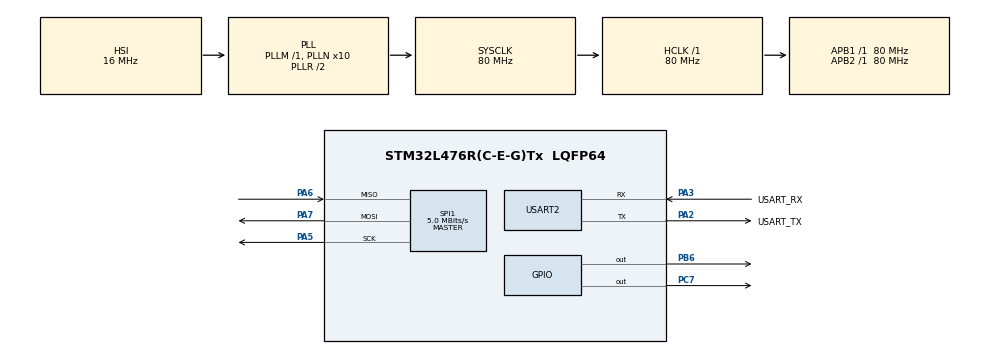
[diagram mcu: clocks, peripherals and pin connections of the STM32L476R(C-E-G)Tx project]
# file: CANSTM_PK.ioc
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Mcu.Family=STM32L4
Mcu.Name=STM32L476R(C-E-G)Tx
Mcu.Package=LQFP64
NVIC.PriorityGroup=NVIC_PRIORITYGROUP_4
PA13\ (JTMS-SWDIO).GPIO_Label=TMS
PA13\ (JTMS-SWDIO).Mode=Serial_Wire
PA13\ (JTMS-SWDIO).Signal=SYS_JTMS-SWDIO
PA14\ (JTCK-SWCLK).GPIO_Label=TCK
PA14\ (JTCK-SWCLK).Mode=Serial_Wire
PA14\ (JTCK-SWCLK).Signal=SYS_JTCK-SWCLK
PA2.GPIO_Label=USART_TX
PA2.GPIO_Mode=GPIO_MODE_AF_PP
PA2.GPIO_PuPd=GPIO_NOPULL
PA2.GPIO_Speed=GPIO_SPEED_FREQ_VERY_HIGH
PA2.Mode=Asynchronous
PA2.Signal=USART2_TX
PA3.GPIO_Label=USART_RX
PA3.GPIO_Mode=GPIO_MODE_AF_PP
PA3.GPIO_PuPd=GPIO_NOPULL
PA3.GPIO_Speed=GPIO_SPEED_FREQ_VERY_HIGH
PA3.Mode=Asynchronous
PA3.Signal=USART2_RX
PA5.Mode=Full_Duplex_Master
PA5.Signal=SPI1_SCK
PA6.Mode=Full_Duplex_Master
PA6.Signal=SPI1_MISO
PA7.Mode=Full_Duplex_Master
PA7.Signal=SPI1_MOSI
PB3\ (JTDO-TRACESWO).GPIO_Label=SWO
PB3\ (JTDO-TRACESWO).Signal=SYS_JTDO-SWO
PB6.GPIO_Speed=GPIO_SPEED_FREQ_VERY_HIGH
PB6.PinState=GPIO_PIN_SET
PB6.Signal=GPIO_Output
PC14-OSC32_IN\ (PC14).Mode=LSE-External-Oscillator
PC14-OSC32_IN\ (PC14).Signal=RCC_OSC32_IN
PC15-OSC32_OUT\ (PC15).Mode=LSE-External-Oscillator
PC15-OSC32_OUT\ (PC15).Signal=RCC_OSC32_OUT
PC7.GPIO_Speed=GPIO_SPEED_FREQ_VERY_HIGH
PC7.PinState=GPIO_PIN_SET
PC7.Signal=GPIO_Output
PH0-OSC_IN\ (PH0).Signal=RCC_OSC_IN
PH1-OSC_OUT\ (PH1).Signal=RCC_OSC_OUT
ProjectManager.HeapSize=0x200
ProjectManager.StackSize=0x400
ProjectManager.TargetToolchain=Makefile
RCC.ADCFreq_Value=64000000
RCC.AHBFreq_Value=80000000
RCC.APB1Freq_Value=80000000
RCC.APB1TimFreq_Value=80000000
RCC.APB2Freq_Value=80000000
RCC.APB2TimFreq_Value=80000000
RCC.CortexFreq_Value=80000000
RCC.HCLKFreq_Value=80000000
RCC.HSE_VALUE=8000000
RCC.HSI_VALUE=16000000
RCC.MSI_VALUE=4000000
RCC.PLLN=10
RCC.PLLSourceVirtual=RCC_PLLSOURCE_HSI
RCC.SYSCLKFreq_VALUE=80000000
RCC.SYSCLKSource=RCC_SYSCLKSOURCE_PLLCLK
RCC.USBFreq_Value=64000000
RCC.VCOOutputFreq_Value=160000000
SPI1.BaudRatePrescaler=SPI_BAUDRATEPRESCALER_16
SPI1.CalculateBaudRate=5.0 MBits/s
SPI1.DataSize=SPI_DATASIZE_8BIT
SPI1.Direction=SPI_DIRECTION_2LINES
SPI1.Mode=SPI_MODE_MASTER
SPI1.NSSPMode=SPI_NSS_PULSE_DISABLE
SPI1.VirtualType=VM_MASTER
USART2.VirtualMode-Asynchronous=VM_ASYNC
board=NUCLEO-L476RG

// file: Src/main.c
/* USER CODE BEGIN Header */
/**
 ******************************************************************************
 * @file           : main.c
 * @brief          : Main program body
 ******************************************************************************
 * @attention
 *
 * Copyright (c) 2023 STMicroelectronics.
 * All rights reserved.
 *
 * This software is licensed under terms that can be found in the LICENSE file
 * in the root directory of this software component.
 * If no LICENSE file comes with this software, it is provided AS-IS.
 *
 ******************************************************************************
 */
/* USER CODE END Header */
#include "main.h"

/* USER CODE BEGIN Includes */
#include <stdio.h>
#include <string.h>

#include "mcp2515.h"
/* USER CODE END Includes */

SPI_HandleTypeDef hspi1;

UART_HandleTypeDef huart2;

/* USER CODE BEGIN PV */

MCP2515_HandleTypeDef hmcp2515_1;
MCP2515_HandleTypeDef hmcp2515_2;

/* USER CODE END PV */

void SystemClock_Config(void);
static void MX_GPIO_Init(void);
static void MX_USART2_UART_Init(void);
static void MX_SPI1_Init(void);

int main(void) {

  /* MCU Configuration--------------------------------------------------------*/

  /* Reset of all peripherals, Initializes the Flash interface and the Systick.
   */
  HAL_Init();

  /* Configure the system clock */
  SystemClock_Config();

  /* Initialize all configured peripherals */
  MX_GPIO_Init();
  MX_USART2_UART_Init();
  MX_SPI1_Init();
  /* USER CODE BEGIN 2 */

  hmcp2515_1.hspi = &hspi1;
  hmcp2515_1.cs_base = GPIOB;
  hmcp2515_1.cs_pin = GPIO_PIN_6;

  // if (MCP2515_Init(&hmcp2515_1, 0, 0, 0, 0) != HAL_OK)
  //   Error_Handler();
  // if (MCP2515_DisableReceiveFilter(&hmcp2515_1, MCP2515_RXB0) != HAL_OK)
  //   Error_Handler();
  // if (MCP2515_DisableReceiveFilter(&hmcp2515_1, MCP2515_RXB1) != HAL_OK)
  //   Error_Handler();
  // if (MCP2515_SetTimeSegments(&hmcp2515_1, 4, 3, 2, 7, 6) != HAL_OK)
  //   Error_Handler();
  // if (MCP2515_SetOperationMode(&hmcp2515_1, MCP2515_NORMAL_MODE) != HAL_OK)
  //   Error_Handler();

  hmcp2515_2.hspi = &hspi1;
  hmcp2515_2.cs_base = GPIOC;
  hmcp2515_2.cs_pin = GPIO_PIN_7;

  if (MCP2515_Init(&hmcp2515_2, 0, 0, 0, 0) != HAL_OK)
    Error_Handler();
  if (MCP2515_SetTimeSegments(&hmcp2515_2, 4, 3, 2, 7, 6) != HAL_OK)
    Error_Handler();
  if (MCP2515_EnableOneShotMode(&hmcp2515_2) != HAL_OK)
    Error_Handler();
  if (MCP2515_SetOperationMode(&hmcp2515_2, MCP2515_NORMAL_MODE) != HAL_OK)
    Error_Handler();
  uint8_t data[4] = {0xB, 0xAD, 0xF0, 0x0D};
  if (MCP2515_SetTransmitBuffer(&hmcp2515_2, MCP2515_TXB0, MCP2515_CAN_STDFRAME,
                                0, data, 4) != HAL_OK)
    Error_Handler();
  if (MCP2515_RequestToSend(&hmcp2515_2, MCP2515_TXB0) != HAL_OK)
    Error_Handler();
  /* USER CODE END 2 */

  /* Infinite loop */
  /* USER CODE BEGIN WHILE */
  // MCP2515_CAN_FrameType frametyp;
  // uint32_t frameid;
  // uint8_t dada[8];
  // uint8_t dlc;
  // uint8_t status;
  while (1) {
    // if (MCP2515_SetTransmitBuffer(&hmcp2515_2, MCP2515_TXB0,
    //                               MCP2515_CAN_STDFRAME, 0, data, 4) !=
    //                               HAL_OK)
    //   Error_Handler();
    // if (MCP2515_GetTXB_Status(&hmcp2515_2, MCP2515_TXB0, &status) !=
    // HAL_OK)
    //   Error_Handler();
    // if (status & MCP2515_TXERR) {
    //   uint8_t err;
    //   MCP2515_GetErrorFlagRegister(&hmcp2515_2, &err);
    // }
    // if (!(status & MCP2515_TXREQ)) {
    //   if (MCP2515_RequestToSend(&hmcp2515_2, MCP2515_TXB0) != HAL_OK)
    //     Error_Handler();
    // }

    // if (MCP2515_GetReceiveBuffer(&hmcp2515_1, MCP2515_RXB0, &frametyp,
    // &frameid,
    //                              dada, &dlc) != HAL_OK)
    //   Error_Handler();
    /* USER CODE END WHILE */

  }
}

void SystemClock_Config(void) {
  RCC_OscInitTypeDef RCC_OscInitStruct = {0};
  RCC_ClkInitTypeDef RCC_ClkInitStruct = {0};

  /** Configure the main internal regulator output voltage
   */
  if (HAL_PWREx_ControlVoltageScaling(PWR_REGULATOR_VOLTAGE_SCALE1) != HAL_OK) {
    Error_Handler();
  }

  /** Initializes the RCC Oscillators according to the specified parameters
   * in the RCC_OscInitTypeDef structure.
   */
  RCC_OscInitStruct.OscillatorType = RCC_OSCILLATORTYPE_HSI;
  RCC_OscInitStruct.HSIState = RCC_HSI_ON;
  RCC_OscInitStruct.HSICalibrationValue = RCC_HSICALIBRATION_DEFAULT;
  RCC_OscInitStruct.PLL.PLLState = RCC_PLL_ON;
  RCC_OscInitStruct.PLL.PLLSource = RCC_PLLSOURCE_HSI;
  RCC_OscInitStruct.PLL.PLLM = 1;
  RCC_OscInitStruct.PLL.PLLN = 10;
  RCC_OscInitStruct.PLL.PLLP = RCC_PLLP_DIV7;
  RCC_OscInitStruct.PLL.PLLQ = RCC_PLLQ_DIV2;
  RCC_OscInitStruct.PLL.PLLR = RCC_PLLR_DIV2;
  if (HAL_RCC_OscConfig(&RCC_OscInitStruct) != HAL_OK) {
    Error_Handler();
  }

  /** Initializes the CPU, AHB and APB buses clocks
   */
  RCC_ClkInitStruct.ClockType = RCC_CLOCKTYPE_HCLK | RCC_CLOCKTYPE_SYSCLK |
                                RCC_CLOCKTYPE_PCLK1 | RCC_CLOCKTYPE_PCLK2;
  RCC_ClkInitStruct.SYSCLKSource = RCC_SYSCLKSOURCE_PLLCLK;
  RCC_ClkInitStruct.AHBCLKDivider = RCC_SYSCLK_DIV1;
  RCC_ClkInitStruct.APB1CLKDivider = RCC_HCLK_DIV1;
  RCC_ClkInitStruct.APB2CLKDivider = RCC_HCLK_DIV1;

  if (HAL_RCC_ClockConfig(&RCC_ClkInitStruct, FLASH_LATENCY_4) != HAL_OK) {
    Error_Handler();
  }
}

static void MX_SPI1_Init(void) {

  /* SPI1 parameter configuration*/
  hspi1.Instance = SPI1;
  hspi1.Init.Mode = SPI_MODE_MASTER;
  hspi1.Init.Direction = SPI_DIRECTION_2LINES;
  hspi1.Init.DataSize = SPI_DATASIZE_8BIT;
  hspi1.Init.CLKPolarity = SPI_POLARITY_LOW;
  hspi1.Init.CLKPhase = SPI_PHASE_1EDGE;
  hspi1.Init.NSS = SPI_NSS_SOFT;
  hspi1.Init.BaudRatePrescaler = SPI_BAUDRATEPRESCALER_8;
  hspi1.Init.FirstBit = SPI_FIRSTBIT_MSB;
  hspi1.Init.TIMode = SPI_TIMODE_DISABLE;
  hspi1.Init.CRCCalculation = SPI_CRCCALCULATION_DISABLE;
  hspi1.Init.CRCPolynomial = 7;
  hspi1.Init.CRCLength = SPI_CRC_LENGTH_DATASIZE;
  hspi1.Init.NSSPMode = SPI_NSS_SOFT;
  if (HAL_SPI_Init(&hspi1) != HAL_OK) {
    Error_Handler();
  }
}

static void MX_USART2_UART_Init(void) {

  huart2.Instance = USART2;
  huart2.Init.BaudRate = 115200;
  huart2.Init.WordLength = UART_WORDLENGTH_8B;
  huart2.Init.StopBits = UART_STOPBITS_1;
  huart2.Init.Parity = UART_PARITY_NONE;
  huart2.Init.Mode = UART_MODE_TX_RX;
  huart2.Init.HwFlowCtl = UART_HWCONTROL_NONE;
  huart2.Init.OverSampling = UART_OVERSAMPLING_16;
  huart2.Init.OneBitSampling = UART_ONE_BIT_SAMPLE_DISABLE;
  huart2.AdvancedInit.AdvFeatureInit = UART_ADVFEATURE_NO_INIT;
  if (HAL_UART_Init(&huart2) != HAL_OK) {
    Error_Handler();
  }
}

static void MX_GPIO_Init(void) {
  GPIO_InitTypeDef GPIO_InitStruct = {0};

  /* GPIO Ports Clock Enable */
  __HAL_RCC_GPIOC_CLK_ENABLE();
  __HAL_RCC_GPIOH_CLK_ENABLE();
  __HAL_RCC_GPIOA_CLK_ENABLE();
  __HAL_RCC_GPIOB_CLK_ENABLE();

  /*Configure GPIO pin Output Level */
  HAL_GPIO_WritePin(GPIOC, GPIO_PIN_7, GPIO_PIN_SET);

  /*Configure GPIO pin Output Level */
  HAL_GPIO_WritePin(GPIOB, GPIO_PIN_6, GPIO_PIN_SET);

  /*Configure GPIO pin : PC7 */
  GPIO_InitStruct.Pin = GPIO_PIN_7;
  GPIO_InitStruct.Mode = GPIO_MODE_OUTPUT_PP;
  GPIO_InitStruct.Pull = GPIO_NOPULL;
  GPIO_InitStruct.Speed = GPIO_SPEED_FREQ_VERY_HIGH;
  HAL_GPIO_Init(GPIOC, &GPIO_InitStruct);

  /*Configure GPIO pin : PB6 */
  GPIO_InitStruct.Pin = GPIO_PIN_6;
  GPIO_InitStruct.Mode = GPIO_MODE_OUTPUT_PP;
  GPIO_InitStruct.Pull = GPIO_NOPULL;
  GPIO_InitStruct.Speed = GPIO_SPEED_FREQ_VERY_HIGH;
  HAL_GPIO_Init(GPIOB, &GPIO_InitStruct);

}

void Error_Handler(void) {
  /* USER CODE BEGIN Error_Handler_Debug */
  HAL_UART_Transmit(&huart2, "Error\r\n", 8, HAL_MAX_DELAY);
  /* User can add his own implementation to report the HAL error return state */
  __disable_irq();
  while (1) {
  }
  /* USER CODE END Error_Handler_Debug */
}

#ifdef USE_FULL_ASSERT
/**
 * @brief  Reports the name of the source file and the source line number
 *         where the assert_param error has occurred.
 * @param  file: pointer to the source file name
 * @param  line: assert_param error line source number
 * @retval None
 */
void assert_failed(uint8_t* file, uint32_t line) {
  /* USER CODE BEGIN 6 */
  /* User can add his own implementation to report the file name and line
     number, ex: printf("Wrong parameters value: file %s on line %d\r\n", file,
     line) */
  /* USER CODE END 6 */
}
#endif /* USE_FULL_ASSERT */
